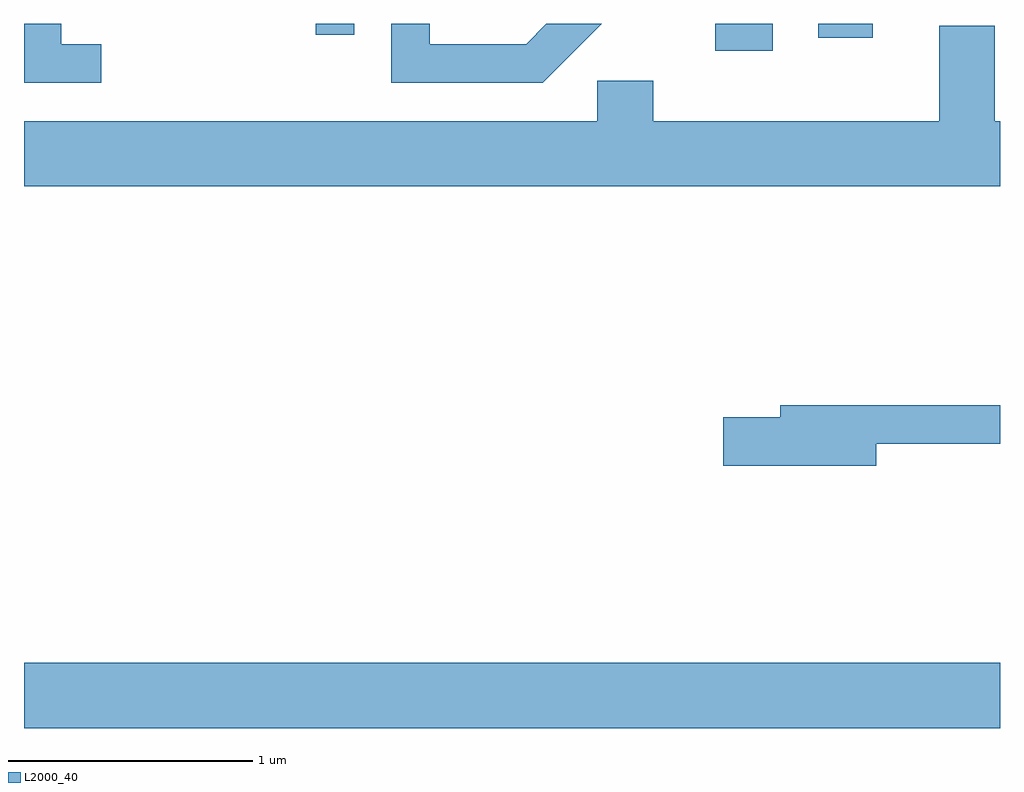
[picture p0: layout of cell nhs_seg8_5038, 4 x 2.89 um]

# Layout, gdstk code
import gdstk
lib = gdstk.Library(unit=1e-6, precision=1e-09)
def R(c, l, rs):  # rectangles x0, y0, x1, y1
    for r in rs: c.add(gdstk.rectangle(r[:2], r[2:], *l))
def P(c, l, *ps):  # polygons
    for p in ps: c.add(gdstk.Polygon(p, *l))
L2000_40 = (2000, 40)

nhs_seg8_5038 = lib.new_cell('nhs_seg8_5038')
R(nhs_seg8_5038, L2000_40, [(335.611,1907.456,339.611,1907.724), (338.443,1910.231,338.679,1910.342), (338.866,1910.286,339.089,1910.342), (336.806,1910.298,336.964,1910.342)])
P(nhs_seg8_5038, L2000_40, [(337.978,1910.342),(337.751,1910.342),(337.669,1910.259),(337.274,1910.259),(337.274,1910.342),(337.116,1910.342),(337.116,1910.101),(337.737,1910.101)],
  [(335.928,1910.259),(335.764,1910.259),(335.764,1910.342),(335.611,1910.342),(335.611,1910.101),(335.928,1910.101)],
  [(339.611,1909.944),(339.589,1909.944),(339.589,1910.334),(339.361,1910.334),(339.361,1909.944),(338.189,1909.944),(338.189,1910.109),(337.961,1910.109),(337.961,1909.944),(335.611,1909.944),(335.611,1909.676),(339.611,1909.676)],
  [(339.104,1908.621),(339.611,1908.621),(339.611,1908.779),(338.711,1908.779),(338.711,1908.729),(338.476,1908.729),(338.476,1908.531),(339.104,1908.531)])

lib.write_gds('nhs_seg8_5038.gds')
